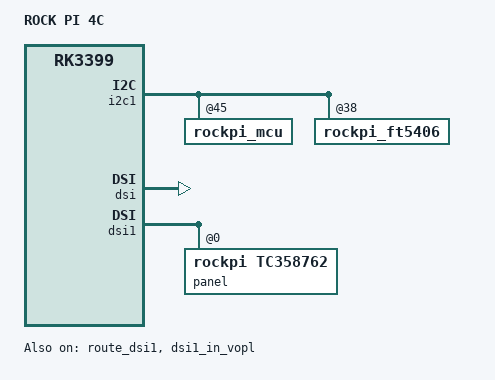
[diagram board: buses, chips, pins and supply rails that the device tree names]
/dts-v1/;
/plugin/;

/ {
	model = "ROCK PI 4C";
	compatible = "rockchip,rockpi","rockchip,rk3399";

	/* ------------------------------------------------------------------------------
	 * OSOYOO display using the Focal FT5406 capacitive touch panel controller.
	 * The backlight controller is at I2C address 0x45
	 * The capacitive touch panel controller is at I2C address 0x38
	 * Both controller connted to i2c1 port
	 * https://datasheetspdf.com/datasheet/FT5406.html
	 * ------------------------------------------------------------------------------ */
	fragment@0 {
		target = <&i2c1>;

		__overlay__ {
			rockpi_mcu: rockpi_mcu@45 {
			    compatible ="rockpi_mcu";
				status = "okay";
			};

			rockpi_ft5406: rockpi_ft5406@38 {
			    compatible ="rockpi_ft5406";
				status = "okay";
			};
		};
	};

	/* ------------------------------------------------------------------------------
	 * MIPI DSI entry must be enabled for dual channel ?
	 * ------------------------------------------------------------------------------ */
	fragment@1 {
		target = <&dsi>;

		__overlay__ {
			status = "ok";
		};
	};

	/* ------------------------------------------------------------------------------
	 * OSOYOO display using Toshiba TC358762 display
	 * interface bridge chip:
	 * https://www.alldatasheetde.com/datasheet-pdf/pdf/470149/TOSHIBA/TC358762.html
	 * ------------------------------------------------------------------------------ */
	fragment@2 {
		target = <&dsi1>;

		__overlay__ {
			rockchip,dual-channel = <&dsi>;
			status = "okay";
			#address-cells = <1>;
			#size-cells = <0>;

			panel: panel@0 {
				compatible ="rockpi,tc358762";
				reg = <0>;
				status = "okay";
			};
		};
	};

	/* ------------------------------------------------------------------------------
	 * Routing
	 * -> no routing defined, therefore disabled
	 * ------------------------------------------------------------------------------ */
	fragment@3 {
		target = <&route_dsi>;

		__overlay__ {
			status = "disabled";
		};
	};

	/* ------------------------------------------------------------------------------
	 * Routing
	 * -> connected to dsi1_in_vopl
	 * ------------------------------------------------------------------------------ */
	fragment@4 {
		target = <&route_dsi1>;

		__overlay__ {
			status = "okay";
		};
	};

	/* ------------------------------------------------------------------------------
	 * VOPB entry
	 * -> NOT connected
	 * ------------------------------------------------------------------------------ */
	fragment@5 {
		target = <&dsi1_in_vopb>;

		__overlay__ {
			status = "disabled";
		};
	};

	/* ------------------------------------------------------------------------------
	 * VOPL entry
	 * -> connected to route_dsi1
	 * ------------------------------------------------------------------------------ */
	fragment@6 {
		target = <&dsi1_in_vopl>;

		__overlay__ {
			status = "okay";
		};
	};
};

